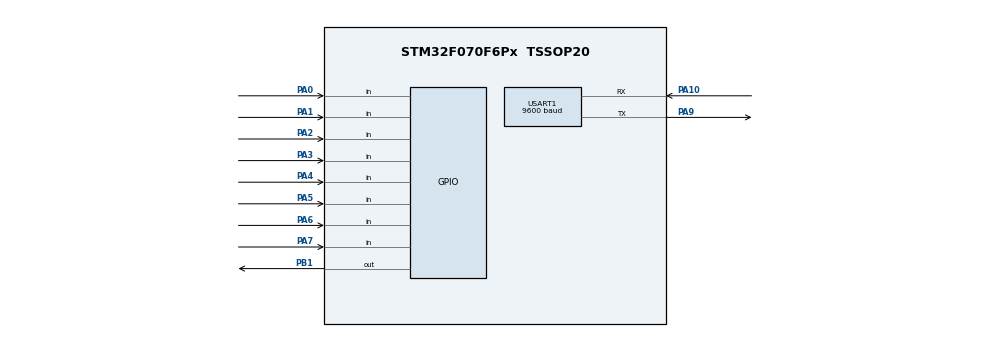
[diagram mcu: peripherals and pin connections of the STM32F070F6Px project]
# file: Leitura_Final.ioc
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Mcu.Family=STM32F0
Mcu.Name=STM32F070F6Px
Mcu.Package=TSSOP20
PA0.GPIO_PuPd=GPIO_PULLDOWN
PA0.Signal=GPIO_Input
PA1.GPIO_PuPd=GPIO_PULLDOWN
PA1.Signal=GPIO_Input
PA10.Mode=Asynchronous
PA10.Signal=USART1_RX
PA2.GPIO_PuPd=GPIO_PULLDOWN
PA2.Signal=GPIO_Input
PA3.GPIO_PuPd=GPIO_PULLDOWN
PA3.Signal=GPIO_Input
PA4.GPIO_PuPd=GPIO_PULLDOWN
PA4.Signal=GPIO_Input
PA5.GPIO_PuPd=GPIO_PULLDOWN
PA5.Signal=GPIO_Input
PA6.GPIO_PuPd=GPIO_PULLDOWN
PA6.Signal=GPIO_Input
PA7.GPIO_PuPd=GPIO_PULLDOWN
PA7.Signal=GPIO_Input
PA9.Mode=Asynchronous
PA9.Signal=USART1_TX
PB1.Signal=GPIO_Output
ProjectManager.HeapSize=0x200
ProjectManager.StackSize=0x400
ProjectManager.TargetToolchain=STM32CubeIDE
USART1.BaudRate=9600
USART1.VirtualMode=VM_ASYNC
board=custom

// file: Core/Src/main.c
/* USER CODE BEGIN Header */
/**
  ******************************************************************************
  * @file           : main.c
  * @brief          : Main program body
  ******************************************************************************
  * @attention
  *
  * Copyright (c) 2022 STMicroelectronics.
  * All rights reserved.
  *
  * This software is licensed under terms that can be found in the LICENSE file
  * in the root directory of this software component.
  * If no LICENSE file comes with this software, it is provided AS-IS.
  *
  ******************************************************************************
  */
/* USER CODE END Header */
#include "main.h"

 UART_HandleTypeDef huart1;

void SystemClock_Config(void);
static void MX_GPIO_Init(void);
static void MX_USART1_UART_Init(void);

/* USER CODE BEGIN 0 */
char l[8];
int C[8][8];
int c[8]={GPIO_PIN_0, GPIO_PIN_1, GPIO_PIN_2, GPIO_PIN_3, GPIO_PIN_4, GPIO_PIN_5, GPIO_PIN_6, GPIO_PIN_7};

/* USER CODE END 0 */

int main(void)
{

  /* MCU Configuration--------------------------------------------------------*/

  /* Reset of all peripherals, Initializes the Flash interface and the Systick. */
  HAL_Init();

  /* Configure the system clock */
  SystemClock_Config();

  /* Initialize all configured peripherals */
  MX_GPIO_Init();
  MX_USART1_UART_Init();

  /* Infinite loop */
  /* USER CODE BEGIN WHILE */
  while (1)
  {
	  	  	  	  for(int a = 0; a < 8; a++) {
	  	  				for(int i = 7; i >=0; i--) {
	  	  					int aux = 1;
	  	  					  	  for(int k = 0; k < i; k++) {
	  	  					  	  	aux = 2*aux;
	  	  					  	  }
	  	  					  	  	C[a][i] = (0b00000001 * aux) * HAL_GPIO_ReadPin(GPIOA, c[i]);
	  	  					  	  	HAL_GPIO_WritePin(GPIOB, GPIO_PIN_1, GPIO_PIN_SET);
	  	  					  	  	HAL_Delay(1);
	  	  					  	  	HAL_GPIO_WritePin(GPIOB, GPIO_PIN_1, GPIO_PIN_RESET);
	  	  				}
	  	  	  	  }
	  	  					  	    l[0] = C[0][0] + C[0][1] + C[0][2] + C[0][3] + C[0][4] + C[0][5] + C[0][6] + C[0][7];
	  	  					  	  	l[1] = C[1][0] + C[1][1] + C[1][2] + C[1][3] + C[1][4] + C[1][5] + C[1][6] + C[1][7];
	  	  					  	  	l[2] = C[2][0] + C[2][1] + C[2][2] + C[2][3] + C[2][4] + C[2][5] + C[2][6] + C[2][7];
	  	  					  	  	l[3] = C[3][0] + C[3][1] + C[3][2] + C[3][3] + C[3][4] + C[3][5] + C[3][6] + C[3][7];
	  	  					  	  	l[4] = C[4][0] + C[4][1] + C[4][2] + C[4][3] + C[4][4] + C[4][5] + C[4][6] + C[4][7];
	  	  					  	  	l[5] = C[5][0] + C[5][1] + C[5][2] + C[5][3] + C[5][4] + C[5][5] + C[5][6] + C[5][7];
	  	  					  	  	l[6] = C[6][0] + C[6][1] + C[6][2] + C[6][3] + C[6][4] + C[6][5] + C[6][6] + C[6][7];
	  	  					  	  	l[7] = C[7][0] + C[7][1] + C[7][2] + C[7][3] + C[7][4] + C[7][5] + C[7][6] + C[7][7];

	  	  					  	  	HAL_Delay(1);
	  	  					  	    HAL_UART_Transmit(&huart1, l, 8, 100);
    /* USER CODE END WHILE */

  }
}

void SystemClock_Config(void)
{
  RCC_OscInitTypeDef RCC_OscInitStruct = {0};
  RCC_ClkInitTypeDef RCC_ClkInitStruct = {0};
  RCC_PeriphCLKInitTypeDef PeriphClkInit = {0};

  /** Initializes the RCC Oscillators according to the specified parameters
  * in the RCC_OscInitTypeDef structure.
  */
  RCC_OscInitStruct.OscillatorType = RCC_OSCILLATORTYPE_HSI;
  RCC_OscInitStruct.HSIState = RCC_HSI_ON;
  RCC_OscInitStruct.HSICalibrationValue = RCC_HSICALIBRATION_DEFAULT;
  RCC_OscInitStruct.PLL.PLLState = RCC_PLL_NONE;
  if (HAL_RCC_OscConfig(&RCC_OscInitStruct) != HAL_OK)
  {
    Error_Handler();
  }

  /** Initializes the CPU, AHB and APB buses clocks
  */
  RCC_ClkInitStruct.ClockType = RCC_CLOCKTYPE_HCLK|RCC_CLOCKTYPE_SYSCLK
                              |RCC_CLOCKTYPE_PCLK1;
  RCC_ClkInitStruct.SYSCLKSource = RCC_SYSCLKSOURCE_HSI;
  RCC_ClkInitStruct.AHBCLKDivider = RCC_SYSCLK_DIV1;
  RCC_ClkInitStruct.APB1CLKDivider = RCC_HCLK_DIV1;

  if (HAL_RCC_ClockConfig(&RCC_ClkInitStruct, FLASH_LATENCY_0) != HAL_OK)
  {
    Error_Handler();
  }
  PeriphClkInit.PeriphClockSelection = RCC_PERIPHCLK_USART1;
  PeriphClkInit.Usart1ClockSelection = RCC_USART1CLKSOURCE_PCLK1;
  if (HAL_RCCEx_PeriphCLKConfig(&PeriphClkInit) != HAL_OK)
  {
    Error_Handler();
  }
}

static void MX_USART1_UART_Init(void)
{

  huart1.Instance = USART1;
  huart1.Init.BaudRate = 9600;
  huart1.Init.WordLength = UART_WORDLENGTH_8B;
  huart1.Init.StopBits = UART_STOPBITS_1;
  huart1.Init.Parity = UART_PARITY_NONE;
  huart1.Init.Mode = UART_MODE_TX_RX;
  huart1.Init.HwFlowCtl = UART_HWCONTROL_NONE;
  huart1.Init.OverSampling = UART_OVERSAMPLING_16;
  huart1.Init.OneBitSampling = UART_ONE_BIT_SAMPLE_DISABLE;
  huart1.AdvancedInit.AdvFeatureInit = UART_ADVFEATURE_NO_INIT;
  if (HAL_UART_Init(&huart1) != HAL_OK)
  {
    Error_Handler();
  }

}

static void MX_GPIO_Init(void)
{
  GPIO_InitTypeDef GPIO_InitStruct = {0};

  /* GPIO Ports Clock Enable */
  __HAL_RCC_GPIOA_CLK_ENABLE();
  __HAL_RCC_GPIOB_CLK_ENABLE();

  /*Configure GPIO pin Output Level */
  HAL_GPIO_WritePin(GPIOB, GPIO_PIN_1, GPIO_PIN_RESET);

  /*Configure GPIO pins : PA0 PA1 PA2 PA3
                           PA4 PA5 PA6 PA7 */
  GPIO_InitStruct.Pin = GPIO_PIN_0|GPIO_PIN_1|GPIO_PIN_2|GPIO_PIN_3
                          |GPIO_PIN_4|GPIO_PIN_5|GPIO_PIN_6|GPIO_PIN_7;
  GPIO_InitStruct.Mode = GPIO_MODE_INPUT;
  GPIO_InitStruct.Pull = GPIO_PULLDOWN;
  HAL_GPIO_Init(GPIOA, &GPIO_InitStruct);

  /*Configure GPIO pin : PB1 */
  GPIO_InitStruct.Pin = GPIO_PIN_1;
  GPIO_InitStruct.Mode = GPIO_MODE_OUTPUT_PP;
  GPIO_InitStruct.Pull = GPIO_NOPULL;
  GPIO_InitStruct.Speed = GPIO_SPEED_FREQ_LOW;
  HAL_GPIO_Init(GPIOB, &GPIO_InitStruct);

}

void Error_Handler(void)
{
  __disable_irq();
  while (1)
  {
  }
}
